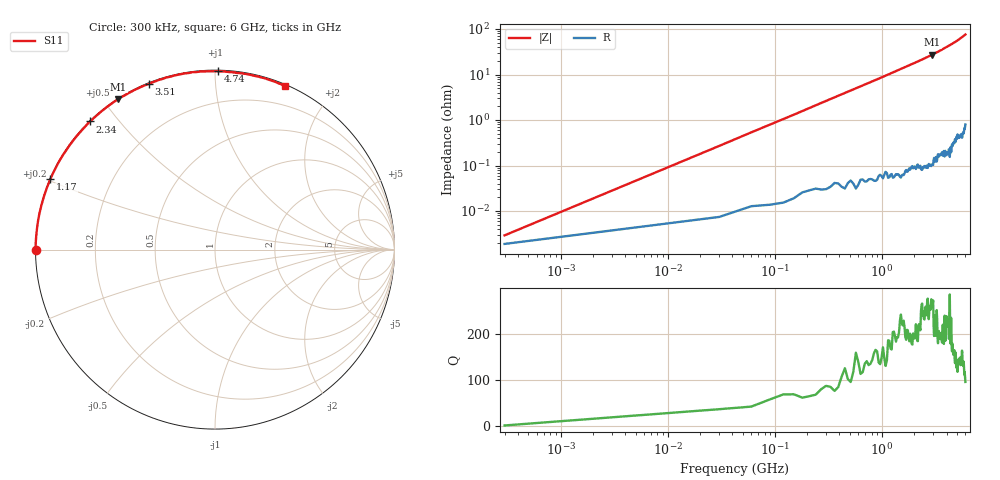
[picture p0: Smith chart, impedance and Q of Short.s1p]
!Agilent Technologies,E5063A,MY54100569,A.02.04
!Date: Sat Apr 21 07:30:01 2018
!Data & Calibration Information:
!Freq	S11:SOLT1(ON)
# Hz S RI R 50
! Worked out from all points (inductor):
!   201 points, 300 kHz to 6 GHz, reference 50 ohm
!   read as one part to ground: L = 1.42 nH near 30.3 MHz
!   highest Q = 265 at 2.94 GHz (marker M1), where L = 1.48 nH
!   S11 on the Smith chart (normalised r, x): 300 kHz: 0.00, +0.00; 1.17 GHz: 0.00, +0.20; 2.34 GHz: 0.00, +0.42; 3.51 GHz: 0.00, +0.68; 4.74 GHz: 0.01, +1.02; 6 GHz: 0.02, +1.52
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300000  -0.9999 8.87e-05
4.502775e8  -0.9866 0.1553
7.502625e8  -0.9643 0.2575
1.170242e9  -0.918 0.3913
1.500225e9  -0.8683 0.4919
1.740213e9  -0.8245 0.561
1.950202e9  -0.7815 0.6189
2.250188e9  -0.7159 0.6936
2.340183e9  -0.696 0.7142
2.700165e9  -0.6035 0.7934
2.940153e9  -0.5387 0.8387
3.00015e9  -0.5209 0.85
3.240138e9  -0.4522 0.888
3.510124e9  -0.3701 0.924
3.750112e9  -0.295 0.9499
4.110094e9  -0.1828 0.9788
4.290086e9  -0.1257 0.9886
4.500075e9  -0.0571 0.9922
4.740063e9  0.0159 0.9938
5.01005e9  0.0996 0.9879
5.100045e9  0.1312 0.9838
5.160042e9  0.1467 0.9823
5.250038e9  0.1766 0.9773
5.520024e9  0.2587 0.9585
5.61002e9  0.2813 0.9533
5.700015e9  0.3094 0.9433
5.910004e9  0.3656 0.9223
6e9  0.392 0.9096
